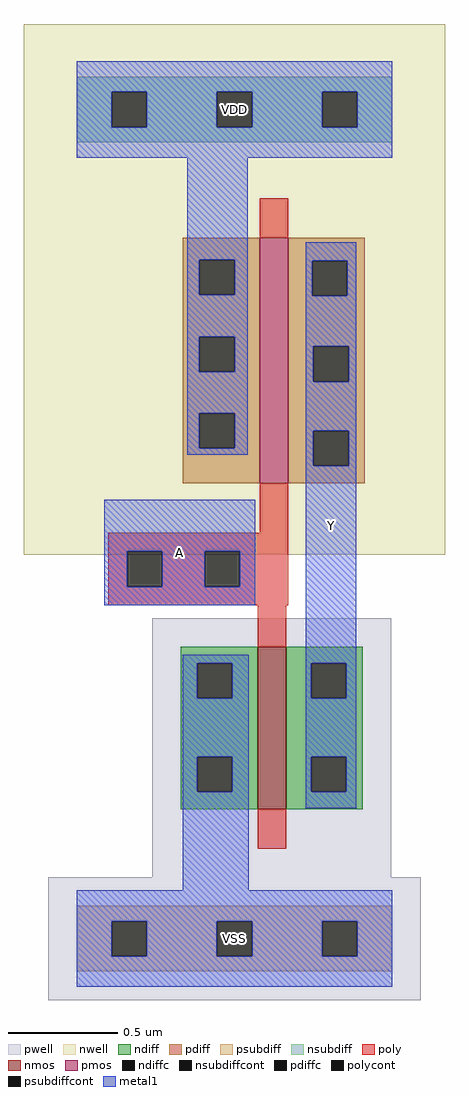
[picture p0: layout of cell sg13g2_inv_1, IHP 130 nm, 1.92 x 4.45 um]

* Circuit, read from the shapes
.subckt sg13g2_inv_1 Y A VSS VDD
XM1 Y A VSS VSS sg13_lv_nmos w=0.74u l=0.13u
XM2 Y A VDD VDD sg13_lv_pmos w=1.12u l=0.13u
.ends

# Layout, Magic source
magic
tech ihp-sg13g2
magscale 1 2
<< nwell >>
rect -48 350 336 834
<< pwell >>
rect 69 56 287 292
rect -26 -56 314 56
<< nmos >>
rect 165 118 191 266
<< pmos >>
rect 167 415 193 639
<< ndiff >>
rect 95 251 165 266
rect 95 219 110 251
rect 142 219 165 251
rect 95 166 165 219
rect 95 134 110 166
rect 142 134 165 166
rect 95 118 165 134
rect 191 251 261 266
rect 191 219 214 251
rect 246 219 261 251
rect 191 166 261 219
rect 191 134 214 166
rect 246 134 261 166
rect 191 118 261 134
<< pdiff >>
rect 97 619 167 639
rect 97 587 112 619
rect 144 587 167 619
rect 97 549 167 587
rect 97 517 112 549
rect 144 517 167 549
rect 97 479 167 517
rect 97 447 112 479
rect 144 447 167 479
rect 97 415 167 447
rect 193 618 263 639
rect 193 586 215 618
rect 247 586 263 618
rect 193 540 263 586
rect 193 508 216 540
rect 248 508 263 540
rect 193 463 263 508
rect 193 431 216 463
rect 248 431 263 463
rect 193 415 263 431
<< ndiffc >>
rect 110 219 142 251
rect 110 134 142 166
rect 214 219 246 251
rect 214 134 246 166
<< pdiffc >>
rect 112 587 144 619
rect 112 517 144 549
rect 112 447 144 479
rect 215 586 247 618
rect 216 508 248 540
rect 216 431 248 463
<< psubdiff >>
rect 0 16 288 30
rect 0 -16 32 16
rect 64 -16 128 16
rect 160 -16 224 16
rect 256 -16 288 16
rect 0 -30 288 -16
<< nsubdiff >>
rect 0 772 288 786
rect 0 740 32 772
rect 64 740 128 772
rect 160 740 224 772
rect 256 740 288 772
rect 0 726 288 740
<< psubdiffcont >>
rect 32 -16 64 16
rect 128 -16 160 16
rect 224 -16 256 16
<< nsubdiffcont >>
rect 32 740 64 772
rect 128 740 160 772
rect 224 740 256 772
<< poly >>
rect 167 639 193 675
rect 167 370 193 415
rect 29 353 193 370
rect 29 321 46 353
rect 78 321 117 353
rect 149 321 193 353
rect 29 304 193 321
rect 165 266 191 304
rect 165 82 191 118
<< polycont >>
rect 46 321 78 353
rect 117 321 149 353
<< metal1 >>
rect 0 772 288 800
rect 0 740 32 772
rect 64 740 128 772
rect 160 740 224 772
rect 256 740 288 772
rect 0 712 288 740
rect 101 619 156 712
rect 101 587 112 619
rect 144 587 156 619
rect 101 549 156 587
rect 101 517 112 549
rect 144 517 156 549
rect 101 479 156 517
rect 101 447 112 479
rect 144 447 156 479
rect 101 441 156 447
rect 209 618 255 635
rect 209 586 215 618
rect 247 586 255 618
rect 209 540 255 586
rect 209 508 216 540
rect 248 508 255 540
rect 209 463 255 508
rect 209 431 216 463
rect 248 431 255 463
rect 25 353 163 400
rect 25 321 46 353
rect 78 321 117 353
rect 149 321 163 353
rect 25 304 163 321
rect 97 251 157 259
rect 97 219 110 251
rect 142 219 157 251
rect 97 166 157 219
rect 97 134 110 166
rect 142 134 157 166
rect 97 44 157 134
rect 209 251 255 431
rect 209 219 214 251
rect 246 219 255 251
rect 209 166 255 219
rect 209 134 214 166
rect 246 134 255 166
rect 209 119 255 134
rect 0 16 288 44
rect 0 -16 32 16
rect 64 -16 128 16
rect 160 -16 224 16
rect 256 -16 288 16
rect 0 -44 288 -16
<< labels >>
flabel metal1 s 209 119 255 635 0 FreeSans 400 0 0 0 Y
port 2 nsew
flabel metal1 s 25 304 163 400 0 FreeSans 400 0 0 0 A
port 3 nsew
flabel metal1 s 0 -44 288 44 0 FreeSans 400 0 0 0 VSS
port 4 nsew
flabel metal1 s 0 712 288 800 0 FreeSans 400 0 0 0 VDD
port 5 nsew
<< properties >>
string FIXED_BBOX 0 0 288 756
string GDS_END 46526
string GDS_FILE ../gds/controller.gds
string GDS_START 43510
<< end >>
